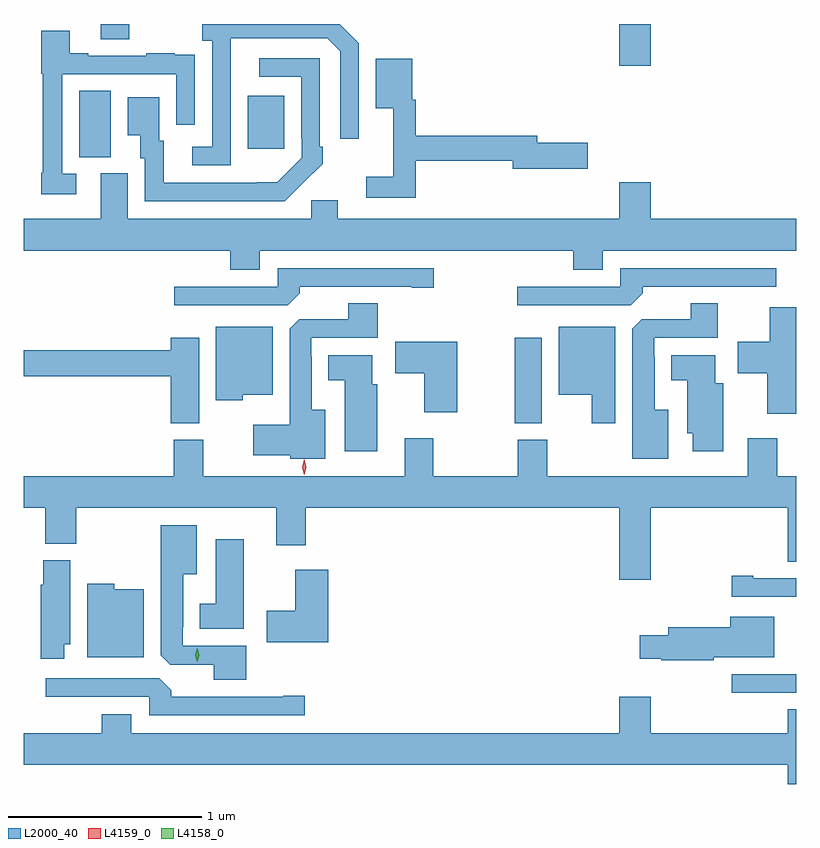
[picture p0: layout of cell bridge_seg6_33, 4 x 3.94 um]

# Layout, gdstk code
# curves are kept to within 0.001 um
import gdstk
lib = gdstk.Library(unit=1e-6, precision=1e-09)
def R(c, l, rs):  # rectangles x0, y0, x1, y1
    for r in rs: c.add(gdstk.rectangle(r[:2], r[2:], *l))
def P(c, l, *ps):  # polygons
    for p in ps: c.add(gdstk.Polygon(p, *l))
L2000_40 = (2000, 40)
L4158_0 = (4158, 0)
L4159_0 = (4159, 0)

bridge_seg6_33 = lib.new_cell('bridge_seg6_33')
R(bridge_seg6_33, L2000_40, [(1088.667,974.349,1089.001,974.445), (1087.543,975.745,1087.684,976.189), (1085.288,977.125,1085.452,977.468), (1086.161,977.169,1086.349,977.443), (1088.084,977.598,1088.248,977.814), (1085.399,977.734,1085.547,977.814)])
P(bridge_seg6_33, L2000_40, [(1086.072,977.539),(1086.073,977.739),(1086.573,977.739),(1086.639,977.673),(1086.639,977.22),(1086.735,977.22),(1086.735,977.715),(1086.636,977.814),(1085.925,977.814),(1085.925,977.726),(1085.976,977.726),(1085.976,977.178),(1085.874,977.178),(1085.874,977.082),(1086.072,977.082)],
  [(1085.272,977.037),(1085.199,977.037),(1085.199,977.553),(1085.79,977.553),(1085.79,977.292),(1085.886,977.292),(1085.886,977.546),(1085.885,977.546),(1085.885,977.655),(1085.783,977.655),(1085.783,977.662),(1085.635,977.662),(1085.635,977.649),(1085.335,977.649),(1085.335,977.662),(1085.239,977.662),(1085.239,977.779),(1085.09,977.779),(1085.09,977.556),(1085.098,977.556),(1085.098,977.044),(1085.091,977.044),(1085.091,976.932),(1085.272,976.932)],
  [(1086.443,976.987),(1086.444,976.986),(1086.549,977.091),(1086.549,977.179),(1086.534,977.179),(1086.534,977.637),(1086.219,977.637),(1086.219,977.541),(1086.438,977.541),(1086.438,977.221),(1086.441,977.221),(1086.441,977.121),(1086.313,976.993),(1085.725,976.992),(1085.725,977.208),(1085.701,977.208),(1085.701,977.434),(1085.54,977.434),(1085.54,977.237),(1085.603,977.237),(1085.603,977.118),(1085.628,977.118),(1085.628,976.896),(1086.352,976.896)],
  [(1087.031,977.106),(1087.532,977.106),(1087.532,977.063),(1087.921,977.063),(1087.921,977.198),(1087.66,977.198),(1087.66,977.234),(1087.031,977.234),(1087.031,977.421),(1087.012,977.421),(1087.012,977.635),(1086.824,977.635),(1086.824,977.378),(1086.914,977.378),(1086.914,977.023),(1086.774,977.023),(1086.774,976.914),(1087.031,976.914)],
  [(1086.223,976.64),(1087.847,976.64),(1087.847,976.541),(1087.999,976.541),(1087.999,976.64),(1089.001,976.64),(1089.001,976.804),(1088.248,976.804),(1088.248,976.993),(1088.084,976.993),(1088.084,976.804),(1086.628,976.804),(1086.628,976.902),(1086.489,976.902),(1086.489,976.804),(1085.539,976.804),(1085.539,977.04),(1085.399,977.04),(1085.399,976.804),(1085.001,976.804),(1085.001,976.64),(1086.071,976.64),(1086.071,976.541),(1086.223,976.541)],
  [(1088.207,976.418),(1088.207,976.452),(1088.899,976.452),(1088.899,976.548),(1088.091,976.548),(1088.091,976.452),(1087.557,976.452),(1087.557,976.356),(1088.145,976.356)],
  [(1086.431,976.418),(1086.431,976.452),(1087.01,976.452),(1087.01,976.447),(1087.123,976.447),(1087.123,976.548),(1086.315,976.548),(1086.315,976.452),(1085.781,976.452),(1085.781,976.356),(1086.369,976.356)],
  [(1088.338,975.817),(1088.269,975.817),(1088.269,976.091),(1088.265,976.091),(1088.265,976.188),(1088.596,976.188),(1088.596,976.367),(1088.456,976.367),(1088.456,976.284),(1088.202,976.284),(1088.153,976.235),(1088.153,975.563),(1088.338,975.563)],
  [(1086.562,975.817),(1086.493,975.817),(1086.493,976.091),(1086.489,976.091),(1086.489,976.188),(1086.833,976.188),(1086.833,976.367),(1086.68,976.367),(1086.68,976.284),(1086.426,976.284),(1086.377,976.235),(1086.377,975.739),(1086.189,975.739),(1086.189,975.581),(1086.381,975.581),(1086.381,975.563),(1086.562,975.563)],
  [(1089.001,976.347),(1088.864,976.347),(1088.864,976.168),(1088.7,976.168),(1088.7,976.006),(1088.852,976.006),(1088.852,975.795),(1089.001,975.795)],
  [(1088.065,976.246),(1087.772,976.246),(1087.772,975.893),(1087.943,975.893),(1087.943,975.747),(1088.065,975.747)],
  [(1086.135,975.893),(1086.289,975.893),(1086.289,976.246),(1085.996,976.246),(1085.996,975.866),(1086.135,975.866)],
  [(1085.908,976.189),(1085.762,976.189),(1085.762,976.124),(1085.001,976.124),(1085.001,975.988),(1085.762,975.988),(1085.762,975.745),(1085.908,975.745)],
  [(1087.246,976.168),(1086.924,976.168),(1086.924,976.006),(1087.076,976.006),(1087.076,975.803),(1087.246,975.803)],
  [(1088.623,975.952),(1088.581,975.952),(1088.581,976.099),(1088.354,976.099),(1088.354,975.968),(1088.438,975.968),(1088.438,975.693),(1088.465,975.693),(1088.465,975.6),(1088.623,975.6)],
  [(1086.832,975.948),(1086.805,975.948),(1086.805,976.099),(1086.578,976.099),(1086.578,975.968),(1086.662,975.968),(1086.662,975.6),(1086.832,975.6)],
  [(1088.248,975.308),(1088.957,975.308),(1088.957,975.028),(1089.001,975.028),(1089.001,975.472),(1088.903,975.472),(1088.903,975.667),(1088.75,975.667),(1088.75,975.472),(1087.713,975.472),(1087.713,975.66),(1087.558,975.66),(1087.558,975.472),(1087.122,975.472),(1087.122,975.667),(1086.974,975.667),(1086.974,975.472),(1085.929,975.472),(1085.929,975.66),(1085.777,975.66),(1085.777,975.472),(1085.001,975.472),(1085.001,975.308),(1085.111,975.308),(1085.111,975.121),(1085.271,975.121),(1085.271,975.308),(1086.308,975.308),(1086.308,975.114),(1086.461,975.114),(1086.461,975.308),(1088.084,975.308),(1088.084,974.934),(1088.248,974.934)],
  [(1086.154,974.592),(1085.823,974.592),(1085.823,974.689),(1085.827,974.689),(1085.827,974.963),(1085.896,974.963),(1085.896,975.217),(1085.711,975.217),(1085.711,974.545),(1085.76,974.496),(1085.984,974.496),(1085.984,974.417),(1086.154,974.417)],
  [(1086.139,975.145),(1085.996,975.145),(1085.996,974.812),(1085.912,974.812),(1085.912,974.681),(1086.139,974.681)],
  [(1085.209,974.6),(1085.242,974.6),(1085.242,975.036),(1085.101,975.036),(1085.101,974.91),(1085.087,974.91),(1085.087,974.526),(1085.209,974.526)],
  [(1086.578,974.986),(1086.407,974.986),(1086.407,974.775),(1086.258,974.775),(1086.258,974.612),(1086.578,974.612)],
  [(1089.001,974.943),(1088.779,974.943),(1088.779,974.956),(1088.667,974.956),(1088.667,974.847),(1089.001,974.847)],
  [(1085.623,974.887),(1085.469,974.887),(1085.469,974.914),(1085.33,974.914),(1085.33,974.534),(1085.623,974.534)],
  [(1088.574,974.534),(1088.887,974.534),(1088.887,974.743),(1088.66,974.743),(1088.66,974.69),(1088.339,974.69),(1088.339,974.647),(1088.19,974.647),(1088.19,974.525),(1088.302,974.525),(1088.302,974.518),(1088.574,974.518)],
  [(1086.457,974.333),(1086.344,974.333),(1086.344,974.328),(1085.765,974.328),(1085.765,974.362),(1085.703,974.424),(1085.115,974.424),(1085.115,974.328),(1085.649,974.328),(1085.649,974.232),(1086.457,974.232)],
  [(1089.001,974.264),(1088.957,974.264),(1088.957,974.14),(1088.248,974.14),(1088.248,974.329),(1088.084,974.329),(1088.084,974.14),(1085.557,974.14),(1085.557,974.239),(1085.405,974.239),(1085.405,974.14),(1085.001,974.14),(1085.001,973.976),(1088.957,973.976),(1088.957,973.877),(1089.001,973.877)])
P(bridge_seg6_33, L4158_0, [(1085.898,974.509),(1085.898,974.509),(1085.889,974.545),(1085.899,974.581),(1085.899,974.581),(1085.899,974.581),(1085.909,974.545),(1085.898,974.509)])
P(bridge_seg6_33, L4159_0, [(1086.453,975.478),(1086.453,975.478),(1086.443,975.518),(1086.453,975.558),(1086.453,975.558),(1086.453,975.558),(1086.463,975.518),(1086.453,975.478)])

lib.write_gds('bridge_seg6_33.gds')
